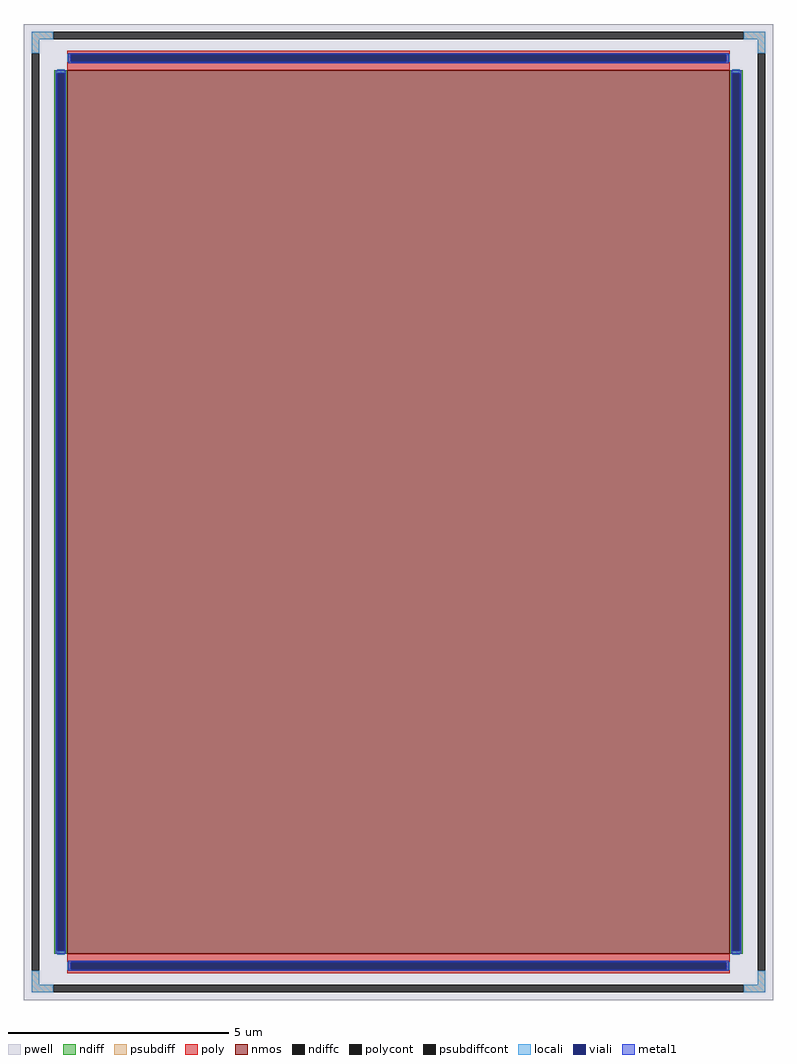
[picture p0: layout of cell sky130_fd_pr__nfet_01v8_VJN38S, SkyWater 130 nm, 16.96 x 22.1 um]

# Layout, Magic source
magic
tech sky130A
<< pwell >>
rect -848 -1105 848 1105
<< nmos >>
rect -750 -1000 750 1000
<< ndiff >>
rect -779 994 -750 1000
rect -779 -994 -773 994
rect -756 -994 -750 994
rect -779 -1000 -750 -994
rect 750 994 779 1000
rect 750 -994 756 994
rect 773 -994 779 994
rect 750 -1000 779 -994
<< ndiffc >>
rect -773 -994 -756 994
rect 756 -994 773 994
<< psubdiff >>
rect -830 1070 -782 1087
rect 782 1070 830 1087
rect -830 1039 -813 1070
rect 813 1039 830 1070
rect -830 -1070 -813 -1039
rect 813 -1070 830 -1039
rect -830 -1087 -782 -1070
rect 782 -1087 830 -1070
<< psubdiffcont >>
rect -782 1070 782 1087
rect -830 -1039 -813 1039
rect 813 -1039 830 1039
rect -782 -1087 782 -1070
<< poly >>
rect -750 1036 750 1044
rect -750 1019 -742 1036
rect 742 1019 750 1036
rect -750 1000 750 1019
rect -750 -1019 750 -1000
rect -750 -1036 -742 -1019
rect 742 -1036 750 -1019
rect -750 -1044 750 -1036
<< polycont >>
rect -742 1019 742 1036
rect -742 -1036 742 -1019
<< locali >>
rect -830 1070 -782 1087
rect 782 1070 830 1087
rect -830 1039 -813 1070
rect 813 1039 830 1070
rect -750 1019 -742 1036
rect 742 1019 750 1036
rect -773 994 -756 1002
rect -773 -1002 -756 -994
rect 756 994 773 1002
rect 756 -1002 773 -994
rect -750 -1036 -742 -1019
rect 742 -1036 750 -1019
rect -830 -1070 -813 -1039
rect 813 -1070 830 -1039
rect -830 -1087 -782 -1070
rect 782 -1087 830 -1070
<< viali >>
rect -742 1019 742 1036
rect -773 -994 -756 994
rect 756 -994 773 994
rect -742 -1036 742 -1019
<< metal1 >>
rect -748 1036 748 1039
rect -748 1019 -742 1036
rect 742 1019 748 1036
rect -748 1016 748 1019
rect -776 994 -753 1000
rect -776 -994 -773 994
rect -756 -994 -753 994
rect -776 -1000 -753 -994
rect 753 994 776 1000
rect 753 -994 756 994
rect 773 -994 776 994
rect 753 -1000 776 -994
rect -748 -1019 748 -1016
rect -748 -1036 -742 -1019
rect 742 -1036 748 -1019
rect -748 -1039 748 -1036
<< properties >>
string FIXED_BBOX -821 -1078 821 1078
string gencell sky130_fd_pr__nfet_01v8
string library sky130
string parameters w 20 l 15 m 1 nf 1 diffcov 100 polycov 100 guard 1 glc 1 grc 1 gtc 1 gbc 1 tbcov 100 rlcov 100 topc 1 botc 1 poverlap 0 doverlap 1 lmin 0.15 wmin 0.42 compatible {sky130_fd_pr__nfet_01v8 sky130_fd_pr__nfet_01v8_lvt  sky130_fd_bs_flash__special_sonosfet_star  sky130_fd_pr__nfet_g5v0d10v5 sky130_fd_pr__nfet_05v0_nvt  sky130_fd_pr__nfet_03v3_nvt} full_metal 1 viasrc 100 viadrn 100 viagate 100 viagb 0 viagr 0 viagl 0 viagt 0
<< end >>
